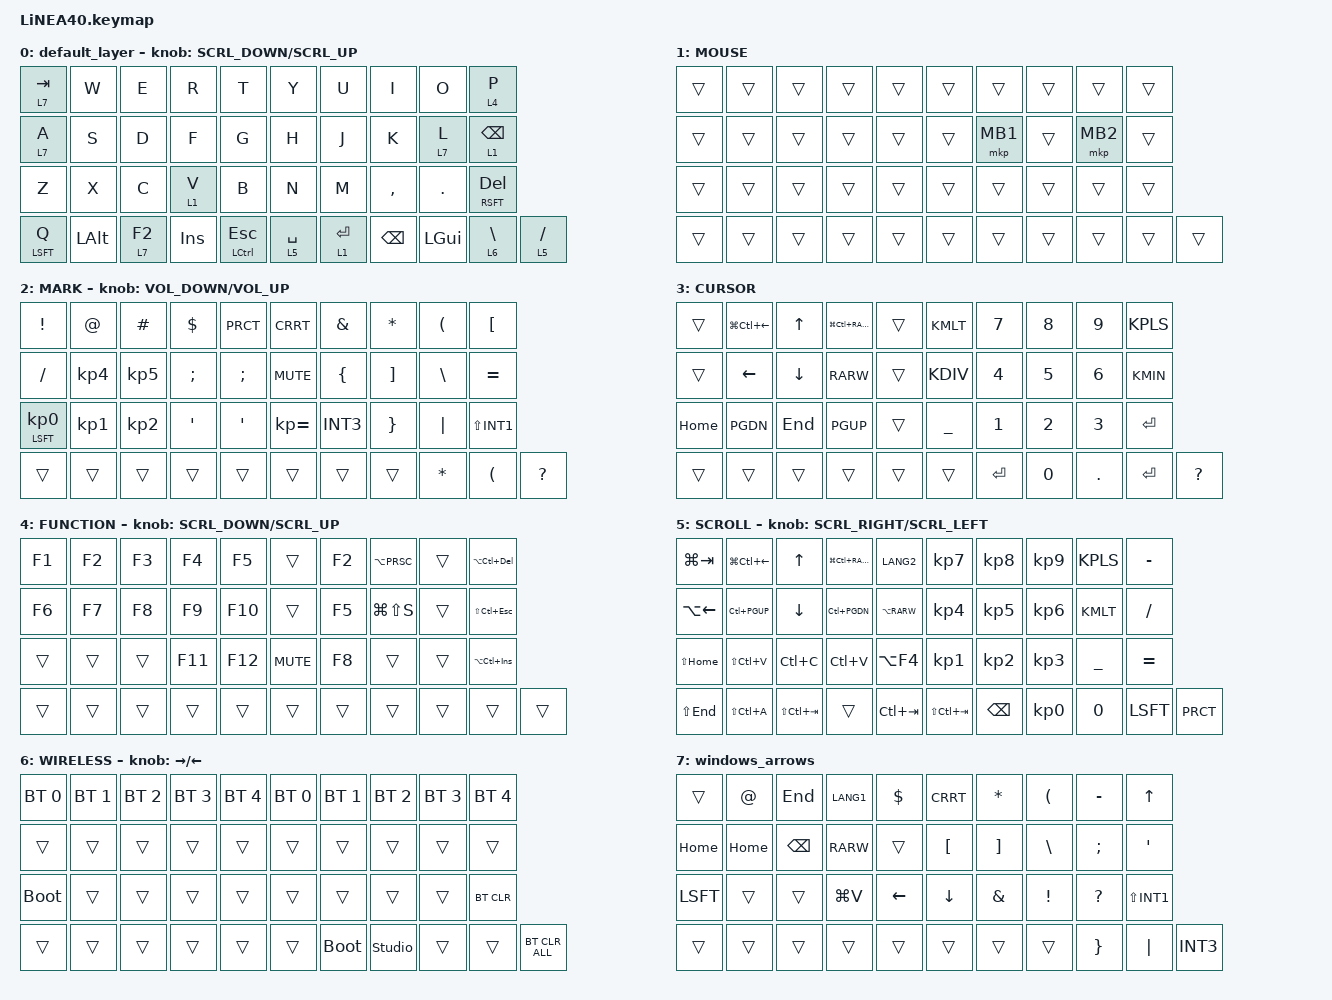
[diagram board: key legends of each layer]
#define ZMK_POINTING_DEFAULT_SCRL_VAL 150

#include <dt-bindings/zmk/input_transform.h>
#include <input/processors.dtsi>
#include <zephyr/dt-bindings/input/input-event-codes.h>
#include <behaviors.dtsi>
#include <dt-bindings/zmk/bt.h>
#include <dt-bindings/zmk/keys.h>
#include <dt-bindings/zmk/pointing.h>

#define MOUSE 1
#define MARK 2
#define CURSOR 3
#define FUNCTION 4
#define SCROLL 5
#define WIRELESS 6

//mouse cursol

&mmv {
    delay-ms = <20>;
    trigger-period-ms = <5>;
    time-to-max-speed-ms = <100>;
    acceleration-exponent = <2>;
};

//mouse scroll

&msc {
    delay-ms = <3>;
    trigger-period-ms = <3>;
    time-to-max-speed-ms = <100>;
    acceleration-exponent = <0>;
};

/ {
    input_processors {
        zip_wheel_scaler: zip_wheel_scaler {
            compatible = "zmk,input-processor-scaler";
            #input-processor-cells = <2>;
            type = <INPUT_EV_REL>;
            codes = <INPUT_REL_WHEEL>;
            track-remainders;
        };
    };
};

&msc_input_listener {
    speed_up {
        layers = <FUNCTION>;
        input-processors = <&zip_wheel_scaler 3 1>; //スクロールを3倍速にする
    };
};

&trackball_listener {
    scroller {
        layers = <SCROLL>;
        input-processors =
            <&zip_xy_transform INPUT_TRANSFORM_Y_INVERT>,
            //スクロール方向を逆転,,,,,,,,,,,,,,,,,,,,,,,,,,,,,,,,,,,,,,,,,,,,,,,,,
            <&zip_xy_to_scroll_mapper>;
    };
};

/ {
    combos {
        compatible = "zmk,combos";

        ZenkakuHankaku {
            bindings = <&kp GRAVE>;
            key-positions = <11 12>;
        };

        DeleteKey {
            bindings = <&kp DEL>;
            key-positions = <7 8>;
        };

        InsertKey {
            bindings = <&kp INS>;
            key-positions = <6 7>;
        };

        CenterClick {
            bindings = <&mkp MB3>;
            key-positions = <17 16>;
        };

        RightClick {
            bindings = <&mkp MB2>;
            key-positions = <18 17>;
        };

        PrevClick {
            bindings = <&mkp MB4>;
            key-positions = <27 28>;
        };

        ClickNext {
            bindings = <&mkp MB5>;
            key-positions = <26 27>;
        };
    };

    behaviors {
        re_kp: sensor_rotate_kp {
            compatible = "zmk,behavior-sensor-rotate-var";
            #sensor-binding-cells = <2>;
            bindings = <&kp>, <&kp>;
        };

        mouse_scrl: mouse_wheel_scrl {
            compatible = "zmk,behavior-sensor-rotate-var";
            #sensor-binding-cells = <2>;
            bindings = <&msc>, <&msc>;

            tap-ms = <20>;
        };
    };

    keymap {
        compatible = "zmk,keymap";

        default_layer {
            bindings = <
&lt 7 TAB  &kp W  &kp E  &kp R  &kp T    &kp Y  &kp U  &kp I  &kp O  &lt 4 P
&lt 7 A  &kp S  &kp D  &kp F  &kp G    &kp H  &kp J  &kp K  &lt 7 L  &lt 1 BSPC
&kp Z  &kp X  &kp C  &lt 1 V  &kp B    &kp N  &kp M  &kp CMMA  &kp DOT  &mt RSFT DEL
&mt LSFT Q  &kp LALT  &lt 7 F2  &kp INS  &mt LCTL ESC  &lt 5 SPC    &lt 1 RET  &kp BSPC  &kp LGUI  &lt 6 BSLH  &lt 5 FSLH
            >;

            sensor-bindings = <&mouse_scrl SCRL_DOWN SCRL_UP>;
        };

        MOUSE {
            bindings = <
&trans  &trans  &trans  &trans  &trans    &trans  &trans  &trans  &trans  &trans
&trans  &trans  &trans  &trans  &trans    &trans  &mkp MB1  &trans  &mkp MB2  &trans
&trans  &trans  &trans  &trans  &trans    &trans  &trans  &trans  &trans  &trans
&trans  &trans  &trans  &trans  &trans  &trans    &trans  &trans  &trans  &trans  &trans
            >;
        };

        MARK {
            bindings = <
&kp EXCL  &kp AT  &kp HASH  &kp DLLR  &kp PRCT    &kp CRRT  &kp AMPS  &kp STAR  &kp LPAR  &kp LBKT
&kp FSLH  &kp KP_N4  &kp KP_N5  &kp SEMI  &kp SEMI    &kp C_MUTE  &kp LBRC  &kp RBKT  &kp BSLH  &kp EQL
&mt LSFT KP_N0  &kp KP_N1  &kp KP_N2  &kp SQT  &kp SQT    &kp KP_EQUAL  &kp INT3  &kp RBRC  &kp PIPE  &kp LS(INT1)
&trans  &trans  &trans  &trans  &trans  &trans    &trans  &trans  &kp STAR  &kp LPAR  &kp QMARK
            >;

            sensor-bindings = <&re_kp C_VOLUME_DOWN C_VOLUME_UP>;
        };

        CURSOR {
            bindings = <
&trans  &kp LG(LC(LEFT))  &kp UP  &kp LG(LC(RARW))  &trans    &kp KMLT  &kp N7  &kp N8  &kp N9  &kp KPLS
&trans  &kp LEFT  &kp DOWN  &kp RARW  &trans    &kp KDIV  &kp N4  &kp N5  &kp N6  &kp KMIN
&kp HOME  &kp PGDN  &kp END  &kp PGUP  &trans    &kp UNDER  &kp N1  &kp N2  &kp N3  &kp RET
&trans  &trans  &trans  &trans  &trans  &trans    &kp RET  &kp N0  &kp DOT  &kp RET  &kp QMARK
            >;
        };

        FUNCTION {
            bindings = <
&kp F1  &kp F2  &kp F3  &kp F4  &kp F5    &trans  &kp F2  &kp LA(PRSC)  &trans  &kp LA(LC(DEL))
&kp F6  &kp F7  &kp F8  &kp F9  &kp F10    &trans  &kp F5  &kp LG(LS(S))  &trans  &kp LS(LC(ESC))
&trans  &trans  &trans  &kp F11  &kp F12    &kp C_MUTE  &kp F8  &trans  &trans  &kp LA(LC(INS))
&trans  &trans  &trans  &trans  &trans  &trans    &trans  &trans  &trans  &trans  &trans
            >;

            sensor-bindings = <&mouse_scrl SCRL_DOWN SCRL_UP>;
        };

        SCROLL {
            bindings = <
&kp LG(TAB)  &kp LG(LC(LEFT))  &kp UP  &kp LG(LC(RARW))  &kp LANG2    &kp KP_N7  &kp KP_N8  &kp KP_N9  &kp KPLS  &kp MINUS
&kp LA(LEFT)  &kp LC(PGUP)  &kp DOWN  &kp LC(PGDN)  &kp LA(RARW)    &kp KP_N4  &kp KP_N5  &kp KP_N6  &kp KMLT  &kp FSLH
&kp LS(HOME)  &kp LS(LC(V))  &kp LC(C)  &kp LC(V)  &kp LA(F4)    &kp KP_N1  &kp KP_N2  &kp KP_N3  &kp UNDER  &kp EQL
&kp LS(END)  &kp LS(LC(A))  &kp LS(LC(TAB))  &trans  &kp LC(TAB)  &kp LS(LC(TAB))    &kp BSPC  &kp KP_N0  &kp N0  &kp LSFT  &kp PRCT
            >;

            sensor-bindings = <&mouse_scrl SCRL_RIGHT SCRL_LEFT>;
        };

        WIRELESS {
            bindings = <
&bt BT_SEL 0  &bt BT_SEL 1  &bt BT_SEL 2  &bt BT_SEL 3  &bt BT_SEL 4    &bt BT_SEL 0  &bt BT_SEL 1  &bt BT_SEL 2  &bt BT_SEL 3  &bt BT_SEL 4
&trans  &trans  &trans  &trans  &trans    &trans  &trans  &trans  &trans  &trans
&bootloader  &trans  &trans  &trans  &trans    &trans  &trans  &trans  &trans  &bt BT_CLR
&trans  &trans  &trans  &trans  &trans  &trans    &bootloader  &studio_unlock  &trans  &trans  &bt BT_CLR_ALL
            >;

            sensor-bindings = <&inc_dec_kp RIGHT_ARROW LEFT_ARROW>;
        };

        windows_arrows {
            bindings = <
&trans  &kp AT  &kp END  &kp LANG1  &kp DLLR    &kp CRRT  &kp STAR  &kp LPAR  &kp MINUS  &kp UP
&kp HOME  &kp HOME  &kp BSPC  &kp RARW  &trans    &kp LBKT  &kp RBKT  &kp BSLH  &kp SEMI  &kp SQT
&kp LSFT  &trans  &trans  &kp LG(V)  &kp LEFT    &kp DOWN  &kp AMPS  &kp EXCL  &kp QMARK  &kp LS(INT1)
&trans  &trans  &trans  &trans  &trans  &trans    &trans  &trans  &kp RBRC  &kp PIPE  &kp INT3
            >;
        };
    };
};
